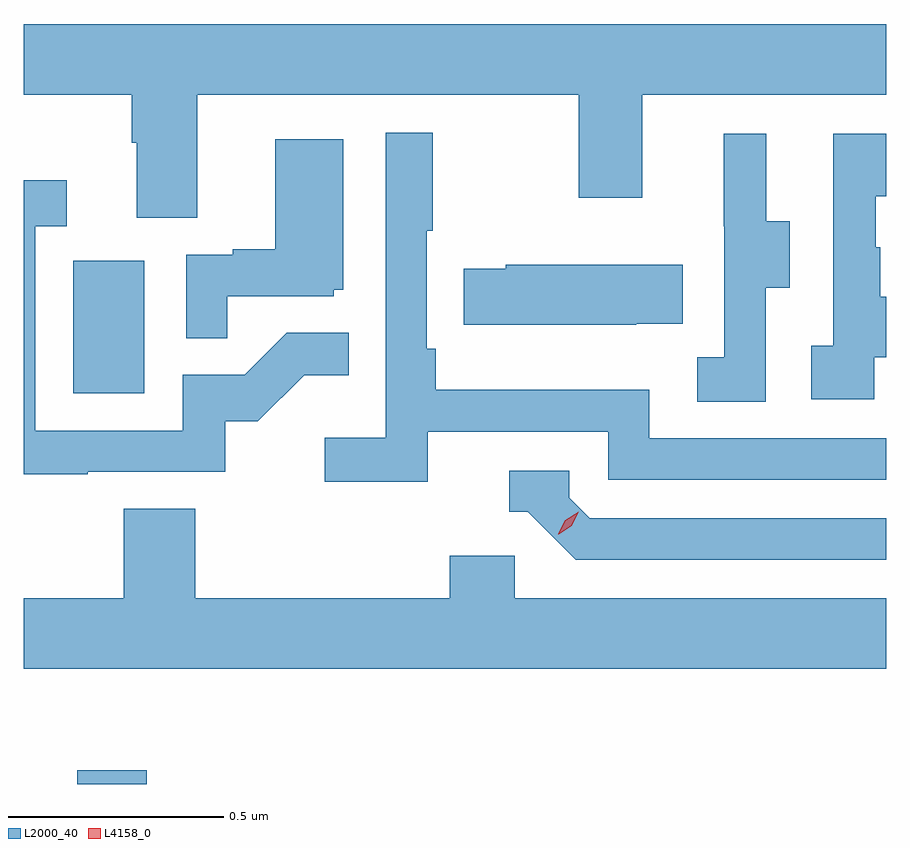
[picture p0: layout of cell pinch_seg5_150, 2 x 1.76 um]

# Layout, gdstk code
import gdstk
lib = gdstk.Library(unit=1e-6, precision=1e-09)
def R(c, l, rs):  # rectangles x0, y0, x1, y1
    for r in rs: c.add(gdstk.rectangle(r[:2], r[2:], *l))
def P(c, l, *ps):  # polygons
    for p in ps: c.add(gdstk.Polygon(p, *l))
L2000_40 = (2000, 40)
L4158_0 = (4158, 0)

pinch_seg5_150 = lib.new_cell('pinch_seg5_150')
R(pinch_seg5_150, L2000_40, [(1077.971,889.793,1078.132,889.825), (1077.962,890.7,1078.126,891.007)])
P(pinch_seg5_150, L2000_40, [(1078.249,891.392),(1079.134,891.392),(1079.134,891.153),(1079.281,891.153),(1079.281,891.392),(1079.847,891.392),(1079.847,891.556),(1077.847,891.556),(1077.847,891.392),(1078.097,891.392),(1078.097,891.28),(1078.109,891.28),(1078.109,891.106),(1078.249,891.106)],
  [(1078.784,890.61),(1079.202,890.61),(1079.202,890.499),(1079.847,890.499),(1079.847,890.595),(1079.298,890.595),(1079.298,890.707),(1078.802,890.707),(1078.802,890.803),(1078.782,890.803),(1078.782,891.076),(1078.795,891.076),(1078.795,891.304),(1078.686,891.304),(1078.686,890.596),(1078.545,890.596),(1078.545,890.494),(1078.784,890.494)],
  [(1079.568,890.944),(1079.623,890.944),(1079.623,891.099),(1079.569,891.099),(1079.569,891.301),(1079.471,891.301),(1079.471,891.087),(1079.472,891.087),(1079.472,890.783),(1079.409,890.783),(1079.409,890.68),(1079.568,890.68)],
  [(1079.82,890.783),(1079.847,890.783),(1079.847,890.923),(1079.833,890.923),(1079.833,891.038),(1079.823,891.038),(1079.823,891.156),(1079.847,891.156),(1079.847,891.301),(1079.724,891.301),(1079.724,890.81),(1079.673,890.81),(1079.673,890.685),(1079.82,890.685)],
  [(1078.319,890.925),(1078.566,890.925),(1078.566,890.94),(1078.588,890.94),(1078.588,891.289),(1078.43,891.289),(1078.43,891.034),(1078.331,891.034),(1078.331,891.021),(1078.224,891.021),(1078.224,890.827),(1078.319,890.827)],
  [(1077.995,890.517),(1078.314,890.517),(1078.314,890.634),(1078.39,890.634),(1078.497,890.741),(1078.601,890.741),(1078.601,890.84),(1078.457,890.84),(1078.359,890.742),(1078.215,890.742),(1078.215,890.613),(1077.873,890.613),(1077.873,891.087),(1077.946,891.087),(1077.946,891.193),(1077.847,891.193),(1077.847,890.512),(1077.995,890.512)],
  [(1079.267,890.861),(1079.375,890.861),(1079.375,890.998),(1078.965,890.998),(1078.965,890.988),(1078.867,890.988),(1078.867,890.858),(1079.267,890.858)],
  [(1079.847,890.409),(1079.16,890.409),(1079.112,890.457),(1079.112,890.52),(1078.973,890.52),(1078.973,890.424),(1079.016,890.424),(1079.127,890.313),(1079.847,890.313)],
  [(1078.835,890.322),(1078.835,890.224),(1078.244,890.224),(1078.244,890.432),(1078.079,890.432),(1078.079,890.224),(1077.847,890.224),(1077.847,890.06),(1079.847,890.06),(1079.847,890.224),(1078.986,890.224),(1078.986,890.322)])
P(pinch_seg5_150, L4158_0, [(1079.087,890.372),(1079.087,890.373),(1079.103,890.405),(1079.134,890.424),(1079.134,890.424),(1079.134,890.424),(1079.118,890.392),(1079.088,890.372)])

lib.write_gds('pinch_seg5_150.gds')
